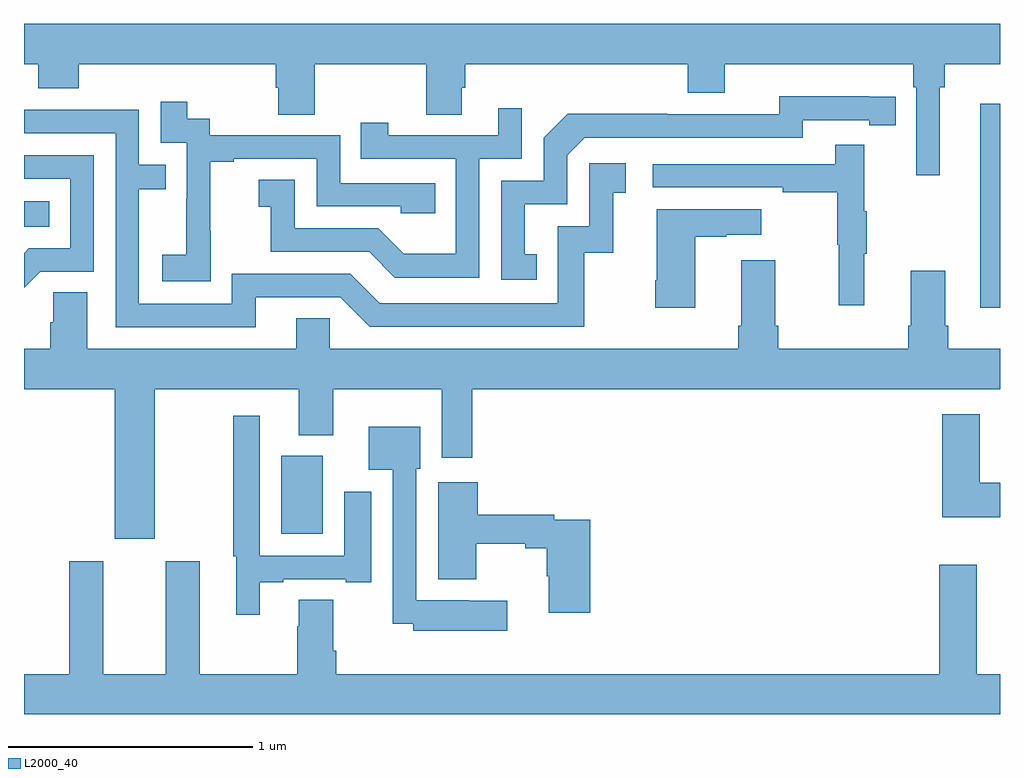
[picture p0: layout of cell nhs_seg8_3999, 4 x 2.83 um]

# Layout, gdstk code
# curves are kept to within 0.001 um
import gdstk
lib = gdstk.Library(unit=1e-6, precision=1e-09)
def R(c, l, rs):  # rectangles x0, y0, x1, y1
    for r in rs: c.add(gdstk.rectangle(r[:2], r[2:], *l))
def P(c, l, *ps):  # polygons
    for p in ps: c.add(gdstk.Polygon(p, *l))
L2000_40 = (2000, 40)

nhs_seg8_3999 = lib.new_cell('nhs_seg8_3999')
R(nhs_seg8_3999, L2000_40, [(358.055,1109.246,358.225,1109.566), (360.92,1110.174,361,1111.009), (357,1110.506,357.104,1110.61)])
P(nhs_seg8_3999, L2000_40, [(360.754,1111.076),(360.773,1111.076),(360.773,1111.172),(361,1111.172),(361,1111.336),(357,1111.336),(357,1111.172),(357.059,1111.172),(357.059,1111.073),(357.224,1111.073),(357.224,1111.172),(358.031,1111.172),(358.031,1111.074),(358.043,1111.074),(358.043,1110.964),(358.191,1110.964),(358.191,1111.172),(358.648,1111.172),(358.648,1110.964),(358.795,1110.964),(358.795,1111.074),(358.808,1111.074),(358.808,1111.172),(359.72,1111.172),(359.72,1111.055),(359.872,1111.055),(359.872,1111.172),(360.644,1111.172),(360.644,1111.076),(360.657,1111.076),(360.657,1110.717),(360.754,1110.717)],
  [(359.102,1110.393),(359.053,1110.393),(359.053,1110.597),(359.226,1110.597),(359.226,1110.798),(359.298,1110.87),(360.192,1110.87),(360.192,1110.942),(360.464,1110.942),(360.464,1110.922),(360.572,1110.922),(360.572,1111.038),(360.096,1111.039),(360.096,1110.966),(359.636,1110.966),(359.636,1110.968),(359.228,1110.968),(359.13,1110.87),(359.13,1110.693),(358.956,1110.693),(358.956,1110.288),(359.102,1110.288)],
  [(357.765,1110.487),(357.764,1110.487),(357.764,1110.771),(357.859,1110.771),(357.859,1110.783),(358.2,1110.783),(358.2,1110.588),(358.545,1110.588),(358.545,1110.561),(358.685,1110.561),(358.685,1110.684),(358.296,1110.684),(358.296,1110.879),(357.762,1110.879),(357.762,1110.948),(357.67,1110.948),(357.67,1111.018),(357.561,1111.018),(357.561,1110.849),(357.666,1110.849),(357.666,1110.62),(357.665,1110.62),(357.665,1110.391),(357.567,1110.391),(357.567,1110.281),(357.765,1110.281)],
  [(358.866,1110.783),(359.04,1110.783),(359.04,1110.991),(358.943,1110.991),(358.943,1110.879),(358.492,1110.879),(358.492,1110.931),(358.381,1110.931),(358.381,1110.783),(358.77,1110.783),(358.77,1110.394),(358.556,1110.394),(358.452,1110.498),(358.11,1110.498),(358.11,1110.697),(357.963,1110.697),(357.963,1110.587),(358.012,1110.587),(358.012,1110.402),(358.415,1110.402),(358.52,1110.297),(358.866,1110.297)],
  [(357.949,1110.216),(358.296,1110.216),(358.416,1110.096),(359.296,1110.096),(359.296,1110.399),(359.414,1110.399),(359.414,1110.645),(359.467,1110.645),(359.467,1110.766),(359.316,1110.766),(359.316,1110.507),(359.187,1110.507),(359.187,1110.192),(358.458,1110.192),(358.338,1110.312),(357.852,1110.312),(357.852,1110.189),(357.471,1110.189),(357.471,1110.658),(357.581,1110.658),(357.581,1110.759),(357.471,1110.759),(357.471,1110.984),(357,1110.984),(357,1110.888),(357.375,1110.888),(357.375,1110.093),(357.949,1110.093)],
  [(360.443,1110.395),(360.454,1110.395),(360.454,1110.569),(360.443,1110.569),(360.443,1110.841),(360.325,1110.841),(360.325,1110.762),(359.577,1110.762),(359.577,1110.666),(360.109,1110.666),(360.109,1110.646),(360.333,1110.646),(360.333,1110.432),(360.34,1110.432),(360.34,1110.183),(360.443,1110.183)],
  [(357.066,1110.321),(357.285,1110.321),(357.285,1110.798),(357,1110.798),(357,1110.702),(357.189,1110.702),(357.189,1110.417),(357.02,1110.417),(357,1110.397),(357,1110.256)],
  [(359.752,1110.463),(359.879,1110.463),(359.879,1110.473),(360.022,1110.473),(360.022,1110.577),(359.594,1110.577),(359.594,1110.286),(359.587,1110.286),(359.587,1110.174),(359.752,1110.174)],
  [(357.535,1109.84),(358.127,1109.84),(358.127,1109.651),(358.267,1109.651),(358.267,1109.84),(358.712,1109.84),(358.712,1109.559),(358.838,1109.559),(358.838,1109.84),(361,1109.84),(361,1110.004),(360.788,1110.004),(360.788,1110.1),(360.775,1110.1),(360.775,1110.325),(360.635,1110.325),(360.635,1110.1),(360.623,1110.1),(360.623,1110.004),(360.092,1110.004),(360.092,1110.1),(360.079,1110.1),(360.079,1110.367),(359.939,1110.367),(359.939,1110.1),(359.927,1110.1),(359.927,1110.004),(358.254,1110.004),(358.254,1110.131),(358.115,1110.131),(358.115,1110.004),(357.259,1110.004),(357.259,1110.236),(357.12,1110.236),(357.12,1110.113),(357.107,1110.113),(357.107,1110.004),(357,1110.004),(357,1109.84),(357.371,1109.84),(357.371,1109.226),(357.535,1109.226)],
  [(361,1109.455),(360.916,1109.455),(360.916,1109.737),(360.764,1109.737),(360.764,1109.315),(361,1109.315)],
  [(357.967,1109.049),(358.063,1109.049),(358.063,1109.061),(358.319,1109.061),(358.319,1109.049),(358.423,1109.049),(358.423,1109.419),(358.313,1109.419),(358.313,1109.157),(357.966,1109.157),(357.966,1109.731),(357.858,1109.731),(357.858,1109.154),(357.869,1109.154),(357.869,1108.914),(357.967,1108.914)],
  [(358.981,1108.972),(358.824,1108.972),(358.824,1108.974),(358.608,1108.974),(358.608,1109.514),(358.624,1109.514),(358.624,1109.686),(358.412,1109.686),(358.412,1109.51),(358.512,1109.51),(358.512,1108.877),(358.596,1108.877),(358.596,1108.85),(358.981,1108.85)],
  [(359.321,1109.304),(359.174,1109.304),(359.174,1109.324),(358.859,1109.324),(358.859,1109.458),(358.697,1109.458),(358.697,1109.06),(358.854,1109.06),(358.854,1109.206),(359.054,1109.206),(359.054,1109.188),(359.143,1109.188),(359.143,1109.073),(359.15,1109.073),(359.15,1108.923),(359.321,1108.923)],
  [(361,1108.672),(360.904,1108.672),(360.904,1109.119),(360.752,1109.119),(360.752,1108.672),(358.28,1108.672),(358.28,1108.768),(358.267,1108.768),(358.267,1108.976),(358.127,1108.976),(358.127,1108.868),(358.12,1108.868),(358.12,1108.672),(357.721,1108.672),(357.721,1109.134),(357.581,1109.134),(357.581,1108.672),(357.325,1108.672),(357.325,1109.134),(357.185,1109.134),(357.185,1108.672),(357,1108.672),(357,1108.508),(361,1108.508)])

lib.write_gds('nhs_seg8_3999.gds')
